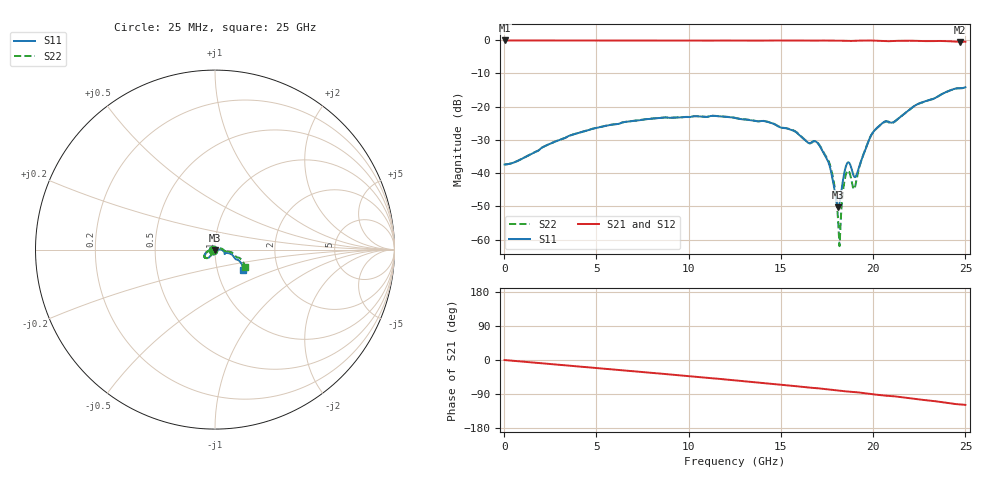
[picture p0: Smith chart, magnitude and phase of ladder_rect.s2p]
! RG_s4_pwr_n4_cap2: kisi's ladder with the plane pair as a finite cavity (rect) (Finite board 24 × 16 mm, via L1 → L4 through the GND/PWR pair L2/L3, four GND vias at 1 mm joined to L2 only (openings in the PWR plane L3), a capacitor between L2 and L3 2 mm away)
# Hz S RI R 50
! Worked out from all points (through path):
!   1000 points, 25 MHz to 25 GHz, reference 50 ohm
!   highest |S21| = -0.12 dB at 25 MHz (marker M1); lowest = -0.5 dB at 24.73 GHz (marker M2)
!   group delay of S21, straight-line fit = 13 ps
!   lowest |S11| = -50.2 dB at 18.1 GHz (marker M3), VSWR 1.01, Z = 49.9 - j0.293 ohm
!   |S11| at or under -10 dB: start of sweep to end of sweep
!   |S22| runs from -61.9 to -14.2 dB; largest |S21 - S12| = 0
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2.5e7  -0.0135 -0.000221  0.9865 -0.00181  0.9865 -0.00181  -0.0135 -0.000222
4.2e9  -0.0243 -0.0337  0.9391 -0.2995  0.9391 -0.2995  -0.0242 -0.0338
8.35e9  -0.0477 -0.0474  0.8029 -0.5698  0.8029 -0.5698  -0.0477 -0.0477
1.2525e10  -0.0592 -0.032  0.5818 -0.7948  0.5818 -0.7948  -0.0597 -0.0319
1.4475e10  -0.0531 -0.0202  0.4526 -0.8743  0.4526 -0.8743  -0.0538 -0.0195
1.6675e10  -0.0264 -0.0124  0.2808 -0.9349  0.2808 -0.9349  -0.027 -0.00997
1.705e10  -0.0263 -0.00603  0.2566 -0.9486  0.2566 -0.9486  -0.0272 -0.00354
1.7625e10  -0.0132 -0.00141  0.2047 -0.9627  0.2047 -0.9627  -0.0141 0.00188
1.79e10  -0.00547 -0.00175  0.1781 -0.966  0.1781 -0.966  -0.00627 0.00202
1.81e10  -0.000944 -0.00293  0.16 -0.9671  0.16 -0.9671  -0.00161 0.00111
1.8225e10  0.00202 -0.00372  0.1486 -0.9677  0.1486 -0.9677  0.00145 0.0005
1.8425e10  0.00698 -0.00677  0.13 -0.9664  0.13 -0.9664  0.00665 -0.00225
1.8575e10  0.00828 -0.011  0.1188 -0.9628  0.1188 -0.9628  0.00825 -0.00644
1.8725e10  0.00549 -0.0129  0.1125 -0.9619  0.1125 -0.9619  0.00561 -0.00845
1.9e10  0.00584 -0.00648  0.095 -0.9716  0.095 -0.9716  0.00564 -0.00198
1.94e10  0.0167 -0.00135  0.0573 -0.9806  0.0573 -0.9806  0.0163 0.00384
1.9875e10  0.0363 -0.00058  0.00473 -0.9847  0.00473 -0.9847  0.036 0.00586
2.0475e10  0.0538 -0.0147  -0.0538 -0.9704  -0.0538 -0.9704  0.0546 -0.00715
2.085e10  0.0536 -0.0249  -0.0769 -0.9583  -0.0769 -0.9583  0.0552 -0.0173
2.24e10  0.1023 -0.0366  -0.2288 -0.9438  -0.2288 -0.9438  0.1053 -0.0258
2.4725e10  0.1525 -0.1119  -0.4298 -0.8357  -0.4298 -0.8357  0.1617 -0.0974
2.5e10  0.1582 -0.1139  -0.4517 -0.8313  -0.4517 -0.8313  0.1676 -0.0989
